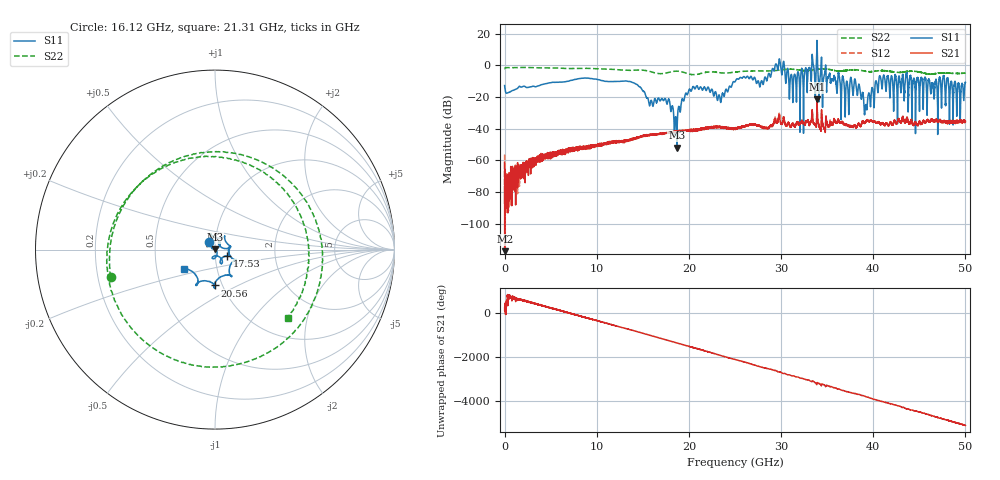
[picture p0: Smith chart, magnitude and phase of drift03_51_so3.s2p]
!Created with skrf (http://scikit-rf.org).
# Hz S RI R 50.0
!freq ReS11 ImS11 ReS21 ImS21 ReS12 ImS12 ReS22 ImS22
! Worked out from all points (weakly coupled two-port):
!   10001 points, 300 kHz to 50 GHz, reference 50 ohm
!   highest |S21| = -21.53 dB at 33.9 GHz (marker M1); lowest = -117.5 dB at 10.3 MHz (marker M2)
!   lowest |S11| = -52.1 dB at 18.69 GHz (marker M3), VSWR 1.00, Z = 49.9 + j0.226 ohm
!   |S11| at or under -10 dB: start of sweep to 6.944 GHz; 13.32 GHz to 25.05 GHz (11.73 GHz wide, 61.1 % of centre); 38.08 GHz to 40.26 GHz (2.18 GHz wide, 5.57 % of centre) (the widest 3 of 52)
!   |S22| runs from -5.9 to -1.3 dB; largest |S21 - S12| = 0.0083
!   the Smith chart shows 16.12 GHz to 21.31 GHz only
!   S11 on the Smith chart (normalised r, x): 16.12 GHz: 0.94, +0.08; 17.53 GHz: 1.14, -0.08; 20.56 GHz: 0.92, -0.38; 21.31 GHz: 0.69, -0.16
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300000  -0.2086 -0.0969  -0.000457 0.000743  0.000353 0.00147  -0.7693 -0.197
1.029994e7  -0.2119 0.0204  -1.29e-06 -3.21e-07  3.12e-05 -0.000114  -0.7877 -0.0055
1.535291e9  0.2049 0.0435  -0.000208 -0.000377  3.72e-05 -0.000443  0.8485 0.0778
3.160281e9  -0.2188 -0.00869  -0.000273 0.000922  0.000122 0.000727  -0.8442 -0.0253
4.665272e9  0.2636 0.0613  9.98e-05 -0.00141  -1.24e-05 -0.0015  0.8187 0.1431
6.360262e9  -0.2997 0.000306  0.000498 0.00181  0.000469 0.00182  -0.8042 -0.0435
8.33525e9  0.2843 -0.2678  -0.00217 -0.000859  -0.00228 -0.000885  0.6021 -0.5351
9.575243e9  -0.3716 -0.0484  0.00115 0.00249  0.00132 0.00231  -0.7857 -0.0963
1.124523e10  0.3061 0.023  -0.00232 -0.00279  -0.00246 -0.00263  0.7574 0.0215
1.61152e10  -0.0316 0.0408  0.00623 0.00205  0.00595 0.00217  -0.5799 -0.1528
1.66702e10  0.0539 0.0755  0.00472 -0.00476  0.00466 -0.005  -0.361 0.4177
1.752519e10  0.0675 -0.0343  -0.00595 -0.00396  -0.00597 -0.00379  0.4914 0.2924
1.869019e10  -0.00104 0.00226  0.00232 0.00784  0.00233 0.00787  -0.0817 -0.6491
2.055518e10  -0.00224 -0.1997  -0.00761 -0.00485  -0.00808 -0.00473  0.3595 0.3614
2.131017e10  -0.1718 -0.11  -0.00567 0.0082  -0.00498 0.00803  0.4057 -0.3793
2.500015e10  -0.2978 -0.0486  0.00802 0.00636  0.00788 0.00668  -0.183 -0.583
3.052012e10  0.2293 -0.1478  -0.00173 0.013  -0.00175 0.0129  0.7436 -0.0691
3.213011e10  0.2018 0.3729  3.38e-05 -0.0153  -0.000361 -0.0153  -0.6946 0.00166
3.33351e10  0.4426 -0.9763  -0.00503 0.0254  -0.00569 0.0247  0.6119 0.3674
3.38951e10  -1.112 -6.012  0.0836 0.00647  0.0794 0.00442  0.6797 -0.3182
4.167005e10  -0.2213 0.2827  -0.0119 -0.00445  -0.0118 -0.00515  -0.653 -0.0581
5e10  -0.1468 -0.2539  3.65e-05 -0.0172  0.00126 -0.0156  0.4694 -0.3102
